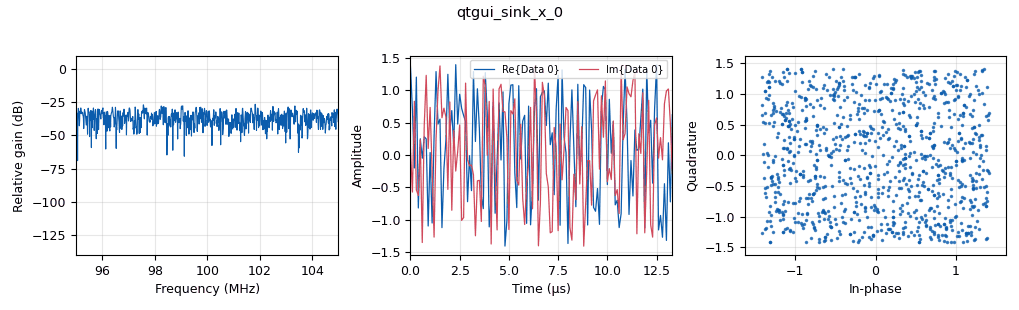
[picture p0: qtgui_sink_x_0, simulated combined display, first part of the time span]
options:
  parameters:
    author: timmy
    generate_options: qt_gui
    id: SDRtest
    output_language: python
    title: Not titled yet
  states: {}

blocks:
- name: BW
  id: variable_qtgui_range
  parameters:
    label: BW [MHz]
    orient: Qt.Horizontal
    start: '10'
    step: '1'
    stop: '200'
    value: '10'
  states: {}
- name: amp
  id: variable_qtgui_range
  parameters:
    label: Amplitude [Normal]
    orient: Qt.Horizontal
    start: '0'
    step: '1'
    stop: '60'
    value: '20'
  states: {}
- name: freq
  id: variable_qtgui_range
  parameters:
    label: Frekvens [MHz]
    orient: Qt.Horizontal
    start: '100'
    step: '100'
    stop: '6000'
    value: '100'
  states: {}
- name: samp_rate
  id: variable_qtgui_range
  parameters:
    label: Sample rate [Ms/s]
    orient: Qt.Horizontal
    start: '10'
    step: '1'
    stop: '250'
    value: '10'
    widget: counter
  states: {}
- name: trans_width
  id: variable_qtgui_range
  parameters:
    label: trans_width [MHz]
    orient: Qt.Horizontal
    start: '10'
    step: '10'
    stop: '100'
    value: '50'
  states: {}
- name: analog_fastnoise_source_x_0
  id: analog_fastnoise_source_x
  parameters:
    amp: '1'
    noise_type: analog.GR_UNIFORM
    samples: '8192'
    seed: '0'
    type: complex
  states: {}
- name: blocks_multiply_const_vxx_0
  id: blocks_multiply_const_vxx
  parameters:
    const: amp/10
    type: complex
  states: {}
- name: low_pass_filter_0
  id: low_pass_filter
  parameters:
    cutoff_freq: 0.5e6*BW
    decim: '1'
    gain: '1'
    samp_rate: samp_rate*1e6
    type: fir_filter_ccf
    width: trans_width*1E6*BW/100
    win: firdes.WIN_HAMMING
  states: {}
- name: qtgui_sink_x_0
  id: qtgui_sink_x
  parameters:
    bw: samp_rate*1e6
    fc: freq*1e6
    fftsize: '1024'
    showrf: 'True'
    type: complex
    wintype: firdes.WIN_BLACKMAN_hARRIS
  states: {}
- name: uhd_usrp_sink_0
  id: uhd_usrp_sink
  parameters:
    ant0: '"TX/RX"'
    center_freq0: freq*1e6
    dev_addr: addr=192.168.10.2
    dev_args: master_clock_rate=200e6
    gain0: amp
    norm_gain0: 'False'
    otw: sc16
    samp_rate: samp_rate*1e6
    stream_chans: '[0]'
    sync: sync
    type: fc32
  states: {}

connections:
- [analog_fastnoise_source_x_0, '0', low_pass_filter_0, '0']
- [blocks_multiply_const_vxx_0, '0', qtgui_sink_x_0, '0']
- [low_pass_filter_0, '0', blocks_multiply_const_vxx_0, '0']
- [low_pass_filter_0, '0', uhd_usrp_sink_0, '0']

metadata:
  file_format: 1
